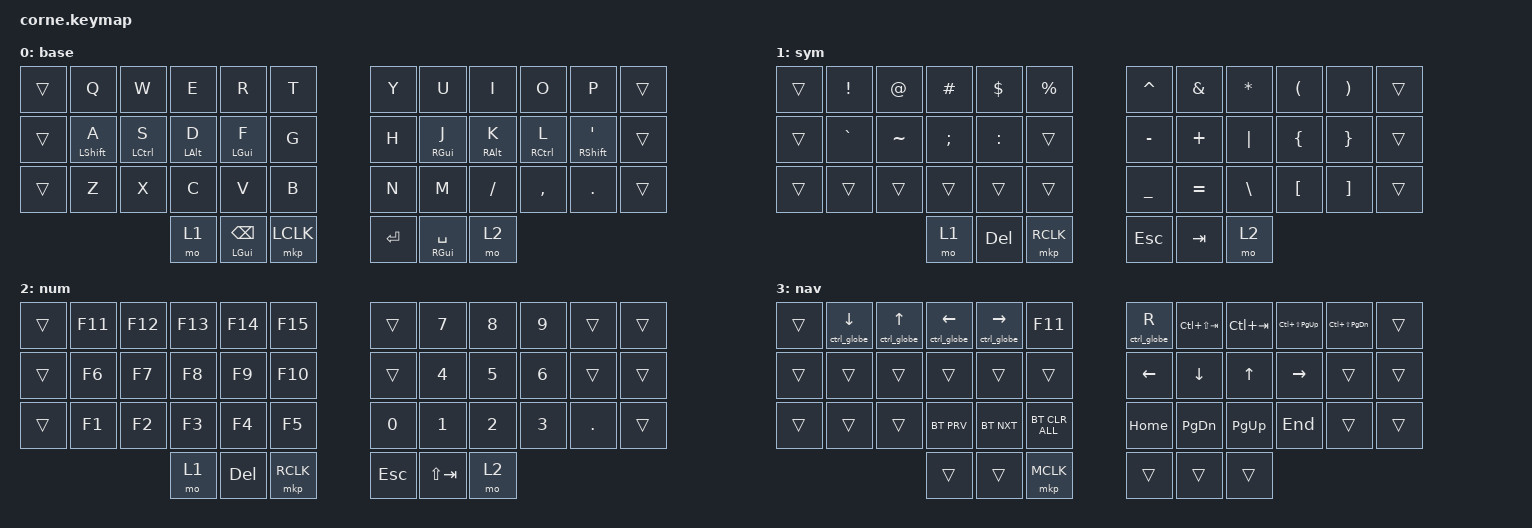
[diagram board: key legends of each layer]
// dt-formatter: indent="  "
// dt-formatter: multilineIntegerCellsIndent="reindent"

#include <dt-bindings/zmk/mouse.h>
#include <behaviors.dtsi>
#include <dt-bindings/zmk/bt.h>
#include <dt-bindings/zmk/keys.h>
#include <dt-bindings/zmk/pointing.h>

/ {
  behaviors {
    hrm: hrm {
      #binding-cells = <2>;
      bindings = <&kp>, <&kp>;

      compatible = "zmk,behavior-hold-tap";
      flavor = "balanced";
      hold-trigger-on-release;  // Allow combining same-hand modifiers
      hold-while-undecided;  // Allow using modifiers with mouse
      quick-tap-ms = <175>;  // Quick tap-then-hold acts as tap, e.g. backspace
      require-prior-idle-ms = <150>;
      tapping-term-ms = <200>;
    };

    lhrm: lhrm {
      #binding-cells = <2>;
      bindings = <&kp>, <&kp>;

      compatible = "zmk,behavior-hold-tap";
      flavor = "balanced";
      hold-trigger-key-positions = <6 7 8 9 10 18 19 20 21 22 30 31 32 33 34>;
      hold-trigger-on-release;  // Allow combining same-hand modifiers
      hold-while-undecided;  // Allow using modifiers with mouse
      quick-tap-ms = <175>;  // Quick tap-then-hold acts as tap, e.g. backspace
      require-prior-idle-ms = <150>;
      tapping-term-ms = <200>;
    };

    rhrm: rhrm {
      #binding-cells = <2>;
      bindings = <&kp>, <&kp>;

      compatible = "zmk,behavior-hold-tap";
      flavor = "balanced";
      hold-trigger-key-positions = <1 2 3 4 5 13 14 15 16 17 25 26 27 28 29>;
      hold-trigger-on-release;  // Allow combining same-hand modifiers
      hold-while-undecided;  // Allow using modifiers with mouse
      quick-tap-ms = <175>;  // Quick tap-then-hold acts as tap, e.g. backspace
      require-prior-idle-ms = <150>;
      tapping-term-ms = <200>;
    };
  };

  combos {
    compatible = "zmk,combos";

    combo_lesc {
      bindings = <&kp ESC>;
      key-positions = <1 2>;
    };

    combo_resc {
      bindings = <&kp ESC>;
      key-positions = <10 9>;
    };

    combo_ltab {
      bindings = <&kp TAB>;
      key-positions = <4 3>;
    };

    combo_shift_ltab {
      bindings = <&kp LS(TAB)>;
      key-positions = <2 3>;
    };

    combo_rtab {
      bindings = <&kp TAB>;
      key-positions = <7 8>;
    };

    combo_shift_rtab {
      bindings = <&kp RS(TAB)>;
      key-positions = <6 7>;
    };
  };

  macros {
    ctrl_globe: ctrl_globe {
      compatible = "zmk,behavior-macro-one-param";
      #binding-cells = <1>;
      bindings =
        <&macro_press>,
        <&kp LCTRL>,
        <&macro_press>,
        <&kp GLOBE &macro_param_1to1>,
        <&macro_tap>,
        <&kp MACRO_PLACEHOLDER>,
        <&macro_release>,
        <&kp GLOBE>,
        <&macro_release>,
        <&kp LCTRL>;
    };
  };

  keymap {
    compatible = "zmk,keymap";

    base {
      bindings = <
        &trans  &kp Q           &kp W          &kp E         &kp R           &kp T        &kp Y    &kp U            &kp I         &kp O          &kp P             &trans
        &trans  &lhrm LSHIFT A  &lhrm LCTRL S  &lhrm LALT D  &lhrm LGUI F    &kp G        &kp H    &rhrm RGUI J     &rhrm RALT K  &rhrm RCTRL L  &rhrm RSHIFT SQT  &trans
        &trans  &kp Z           &kp X          &kp C         &kp V           &kp B        &kp N    &kp M            &kp FSLH      &kp COMMA      &kp DOT           &trans
                                               &mo 1         &hrm LGUI BSPC  &mkp LCLK    &kp RET  &hrm RGUI SPACE  &mo 2
      >;
    };

    sym {
      bindings = <
        &trans  &kp EXCL   &kp AT     &kp HASH  &kp DLLR   &kp PRCNT    &kp CARET  &kp AMPS   &kp ASTRK  &kp LPAR  &kp RPAR  &trans
        &trans  &kp GRAVE  &kp TILDE  &kp SEMI  &kp COLON  &trans       &kp MINUS  &kp PLUS   &kp PIPE   &kp LBRC  &kp RBRC  &trans
        &trans  &trans     &trans     &trans    &trans     &trans       &kp UNDER  &kp EQUAL  &kp BSLH   &kp LBKT  &kp RBKT  &trans
                                      &mo 1     &kp DEL    &mkp RCLK    &kp ESC    &kp TAB    &mo 2
      >;
    };

    num {
      bindings = <
        &trans  &kp F11  &kp F12  &kp F13  &kp F14  &kp F15      &trans   &kp N7       &kp N8  &kp N9  &trans   &trans
        &trans  &kp F6   &kp F7   &kp F8   &kp F9   &kp F10      &trans   &kp N4       &kp N5  &kp N6  &trans   &trans
        &trans  &kp F1   &kp F2   &kp F3   &kp F4   &kp F5       &kp N0   &kp N1       &kp N2  &kp N3  &kp DOT  &trans
                                  &mo 1    &kp DEL  &mkp RCLK    &kp ESC  &kp LS(TAB)  &mo 2
      >;
    };

    nav {
      bindings = <
        &trans  &ctrl_globe DOWN  &ctrl_globe UP  &ctrl_globe LEFT  &ctrl_globe RIGHT  &kp F11           &ctrl_globe R  &kp LC(LS(TAB))  &kp LC(TAB)  &kp LC(LS(PG_UP))  &kp LC(LS(PG_DN))  &trans
        &trans  &trans            &trans          &trans            &trans             &trans            &kp LEFT       &kp DOWN         &kp UP       &kp RIGHT          &trans             &trans
        &trans  &trans            &trans          &bt BT_PRV        &bt BT_NXT         &bt BT_CLR_ALL    &kp HOME       &kp PG_DN        &kp PG_UP    &kp END            &trans             &trans
                                                  &trans            &trans             &mkp MCLK         &trans         &trans           &trans
      >;
    };
  };

  conditional_layers {
    compatible = "zmk,conditional-layers";

    tri_layer {
      if-layers = <1 2>;
      then-layer = <3>;
    };
  };
};
